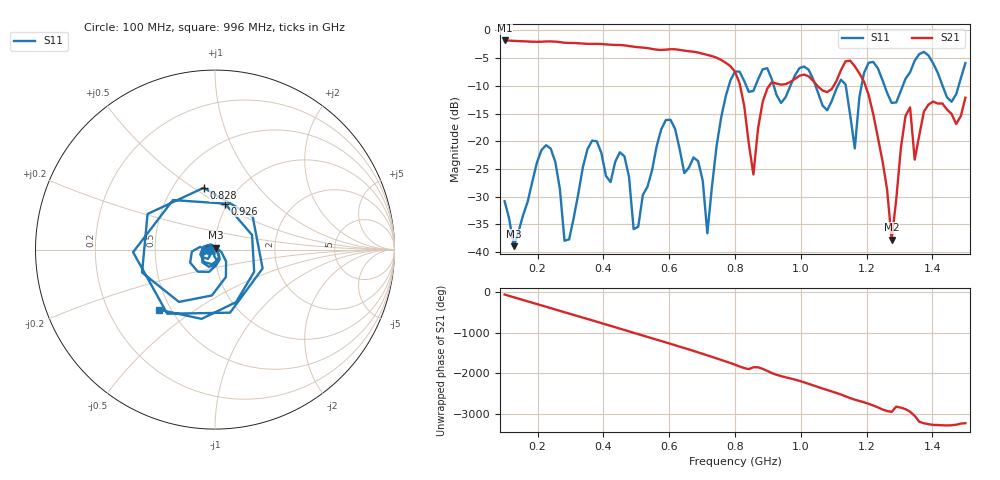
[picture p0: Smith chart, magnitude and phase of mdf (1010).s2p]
! NanoVNA-App
! Date: 2025-09-25 15:46:16
! Start: 100MHz Stop: 1,5GHz Points: 101
! S-Parameter data: F S11 S21 S12 S22
# Hz S RI R 50
!  Frequency  S11_Real  S11_Imag  S21_Real  S21_Imag  S12_Real  S12_Imag  S22_Real  S22_Imag
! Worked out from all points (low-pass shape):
!   101 points, 100 MHz to 1.5 GHz, reference 50 ohm
!   highest |S21| = -1.80 dB at 100 MHz (marker M1); lowest = -37.7 dB at 1.276 GHz (marker M2)
!   |S21| within 3 dB of the highest: start of sweep to 738.9 MHz
!   lowest |S11| = -38.9 dB at 128 MHz (marker M3), VSWR 1.02, Z = 50.4 + j1.08 ohm
!   |S11| at or under -10 dB: start of sweep to 781.1 MHz; 917.9 MHz to 968.2 MHz (50.29 MHz wide, 5.33 % of centre); 1.045 GHz to 1.113 GHz (67.73 MHz wide, 6.28 % of centre) (the widest 3 of 7)
!   S12 and S22 are empty: the file has one direction only
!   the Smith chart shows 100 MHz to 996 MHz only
!   S11 on the Smith chart (normalised r, x): 100 MHz: 0.94, -0.01; 828 MHz: 0.70, +0.55; 926 MHz: 0.97, +0.54; 996 MHz: 0.43, -0.37
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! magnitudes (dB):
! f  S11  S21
! 100 MHz  -30.8  -1.8
! 128 MHz  -38.9  -1.9
! 212 MHz  -21.6  -2.0
! 282 MHz  -37.9  -2.2
! 338 MHz  -24.6  -2.4
! 464 MHz  -22.7  -2.7
! 492 MHz  -35.9  -2.9
! 576 MHz  -17.8  -3.5
! 688 MHz  -23.6  -4.0
! 716 MHz  -36.6  -4.4
! 800 MHz  -7.4  -7.4
! 828 MHz  -9.1  -13.6
! 856 MHz  -10.9  -26.0
! 926 MHz  -11.6  -9.6
! 996 MHz  -6.8  -8.2
! 1.038 GHz  -8.9  -9.1
! 1.136 GHz  -9.7  -5.6
! 1.164 GHz  -21.3  -6.5
! 1.192 GHz  -7.7  -9.2
! 1.276 GHz  -13.1  -37.7
! 1.318 GHz  -8.7  -15.4
! 1.5 GHz  -5.9  -12.1
